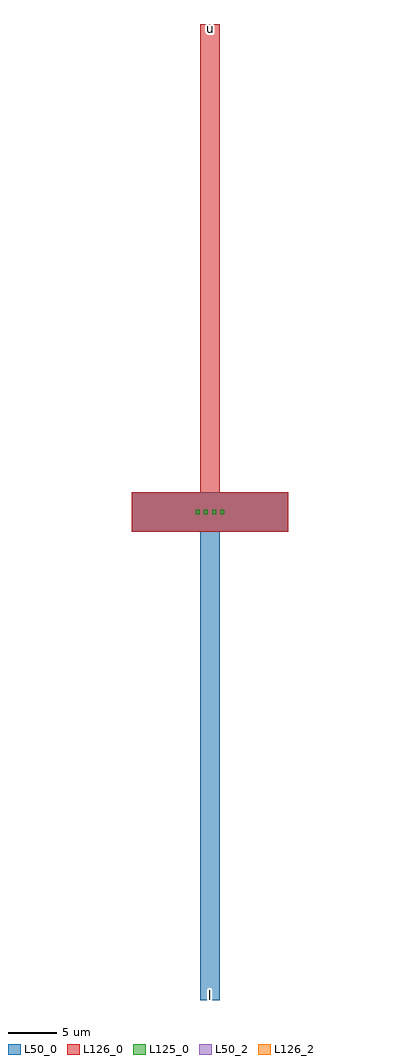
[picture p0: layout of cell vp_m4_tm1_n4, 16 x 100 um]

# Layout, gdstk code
import gdstk
lib = gdstk.Library(unit=1e-6, precision=1e-09)
def R(c, l, rs):  # rectangles x0, y0, x1, y1
    for r in rs: c.add(gdstk.rectangle(r[:2], r[2:], *l))
def A(c, l, x, y, w, h, nx, ny, dx, dy):  # array of equal rectangles
    R(c, l, [(x+i*dx, y+j*dy, x+i*dx+w, y+j*dy+h) for i in range(nx) for j in range(ny)])
L50_0 = (50, 0)
L50_2 = (50, 2)
L125_0 = (125, 0)
L126_0 = (126, 0)
L126_2 = (126, 2)

vp_m4_tm1_n4 = lib.new_cell('vp_m4_tm1_n4')
R(vp_m4_tm1_n4, L50_0, [(7,0,9,48), (0,48,16,52)])
R(vp_m4_tm1_n4, L50_2, [(7.9,0.4,8.1,0.6)])
A(vp_m4_tm1_n4, L125_0, 6.53, 49.79, 0.42, 0.42, 4, 1, 0.84, 0)
R(vp_m4_tm1_n4, L126_0, [(0,48,16,52), (7,52,9,100)])
R(vp_m4_tm1_n4, L126_2, [(7.9,99.4,8.1,99.6)])
vp_m4_tm1_n4.add(gdstk.Label('l', (8,0.5), layer=50, texttype=2))
vp_m4_tm1_n4.add(gdstk.Label('u', (8,99.5), layer=126, texttype=2))

lib.write_gds('vp_m4_tm1_n4.gds')
